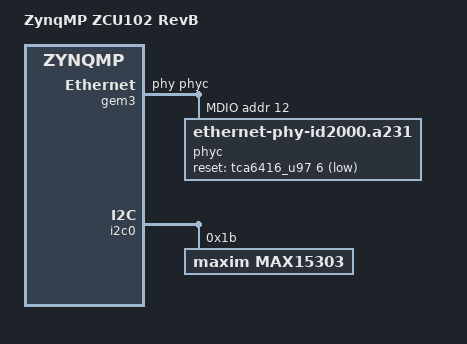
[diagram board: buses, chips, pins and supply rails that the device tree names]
// SPDX-License-Identifier: GPL-2.0+
/*
 * dts file for Xilinx ZynqMP ZCU102 RevB
 *
 * (C) Copyright 2016 - 2022, Xilinx, Inc.
 * (C) Copyright 2022 - 2023, Advanced Micro Devices, Inc.
 *
 * Michal Simek <michal.simek@amd.com>
 */

#include "zynqmp-zcu102-revA.dts"

/ {
	model = "ZynqMP ZCU102 RevB";
	compatible = "xlnx,zynqmp-zcu102-revB", "xlnx,zynqmp-zcu102", "xlnx,zynqmp";
};

&gem3 {
	phy-handle = <&phyc>;
	mdio: mdio {
		phyc: ethernet-phy@c {
			#phy-cells = <0x1>;
			compatible = "ethernet-phy-id2000.a231";
			reg = <0xc>;
			ti,rx-internal-delay = <0x8>;
			ti,tx-internal-delay = <0xa>;
			ti,fifo-depth = <0x1>;
			ti,dp83867-rxctrl-strap-quirk;
			reset-gpios = <&tca6416_u97 6 GPIO_ACTIVE_LOW>;
		};
		/* Cleanup from RevA */
		/delete-node/ ethernet-phy@21;
	};
};

/* Fix collision with u61 */
&i2c0 {
	i2c-mux@75 {
		i2c@2 {
			max15303@1b { /* u8 */
				compatible = "maxim,max15303";
				reg = <0x1b>;
			};
			/delete-node/ max15303@20;
		};
	};
};
